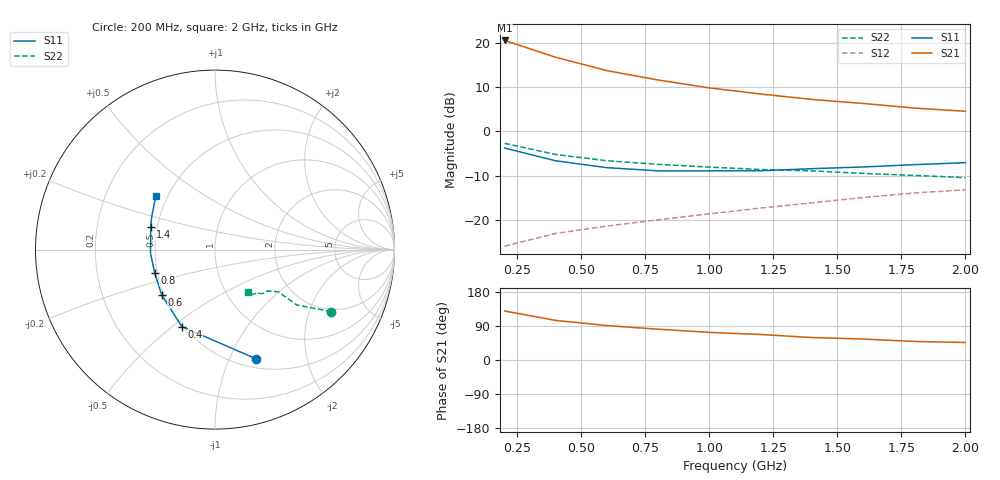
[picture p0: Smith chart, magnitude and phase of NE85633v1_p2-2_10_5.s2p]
! NEC Compound Semiconductor Devices Ltd.
! 20. August 2002
! NE85633/2SC3356
! NPN Silicon Transistor
! Vce = 10 V  Ic = 5 mA
# GHz  S  MA  R  50
!  f  S11  S21  S12  S22
!  GHz  MAG  ANG  MAG  ANG  MAG  ANG  MAG  ANG
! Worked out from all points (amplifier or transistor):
!   10 points, 200 MHz to 2 GHz, reference 50 ohm
!   highest |S21| = 20.5 dB at 200 MHz (marker M1)
!   |S21| within 3 dB of that: start of sweep to 358 MHz
!   unconditionally stable (mu >= 1): 853.5 MHz to end of sweep
!   at 400 MHz: K = 0.65, MSG = 19.8 dB, |S12| = -23.0 dB
!   at 1.2 GHz: K = 1.08, MAG = 11.1 dB, |S12| = -17.3 dB
!   at 2 GHz: K = 1.05, MAG = 7.6 dB, |S12| = -13.2 dB
!   S11 on the Smith chart (normalised r, x): 200 MHz: 0.60, -1.26; 400 MHz: 0.49, -0.54; 600 MHz: 0.49, -0.29; 800 MHz: 0.48, -0.14; 1.4 GHz: 0.46, +0.14; 2 GHz: 0.43, +0.32
0.2  0.651 -69.3  10.62 129.3  0.051 59.2  0.735 -28.1
0.4  0.467 -113.3  6.856 104.4  0.071 54.4  0.55 -34.1
0.6  0.391 -139.3  4.852 90.9  0.086 56.0  0.468 -33.9
0.8  0.36 -159.2  3.802 81.2  0.101 59.1  0.426 -33.6
1  0.36 -176.9  3.098 72.9  0.118 61.0  0.397 -35.7
1.2  0.361 172.7  2.646 67.3  0.137 63.5  0.373 -38.3
1.4  0.381 160.3  2.298 59.3  0.157 63.3  0.36 -43.0
1.6  0.398 152.2  2.071 55.2  0.18 64.1  0.337 -45.9
1.8  0.423 143.3  1.836 49.0  0.203 63.7  0.32 -52.3
2  0.445 137.6  1.689 46.2  0.22 64.7  0.302 -52.2
